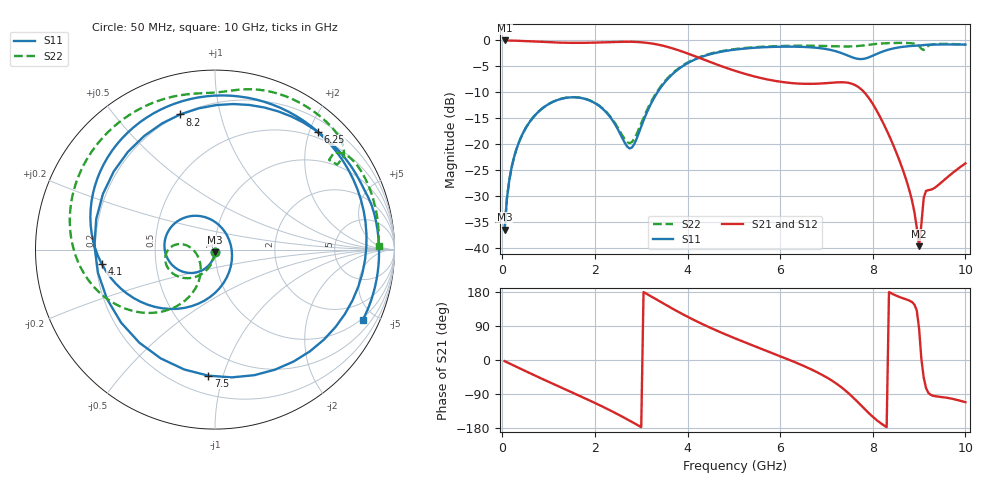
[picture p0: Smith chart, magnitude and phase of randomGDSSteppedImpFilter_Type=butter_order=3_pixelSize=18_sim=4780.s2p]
! freq	dB(S11)	phase(S11)	dB(S12)	phase(S12)
!  dB(S21)	phase(S21)	dB(S22)	phase(S22)
!S-par simulation data
#  GHz  S  DB  R 50
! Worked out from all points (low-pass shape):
!   200 points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, 50 MHz to 10 GHz, reference 50 ohm
!   highest |S21| = -0.01 dB at 50 MHz (marker M1); lowest = -39.6 dB at 9 GHz (marker M2)
!   |S21| within 3 dB of the highest: start of sweep to 4.151 GHz
!   lowest |S11| = -36.4 dB at 50 MHz (marker M3), VSWR 1.03, Z = 49.9 - j1.51 ohm
!   |S11| at or under -10 dB: start of sweep to 3.35 GHz
!   |S22| runs from -36.4 to -0.5 dB; largest |S21 - S12| = 0
!   S11 on the Smith chart (normalised r, x): 50 MHz: 1.00, -0.03; 4.1 GHz: 0.22, -0.06; 6.25 GHz: 0.40, +2.15; 7.5 GHz: 0.32, -0.89; 8.2 GHz: 0.20, +0.76; 10 GHz: 0.91, -4.23
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0.05  -36.39 -92.8  -0.01 -3.0  -0.01 -3.0  -36.38 -92.1
0.2  -24.49 -103.4  -0.03 -11.8  -0.03 -11.8  -24.48 -100.6
0.5  -16.96 -123.3  -0.13 -29.3  -0.13 -29.3  -16.95 -116.2
1.15  -11.60 -165.4  -0.40 -65.9  -0.40 -65.9  -11.59 -147.6
1.75  -11.17 154.4  -0.47 -99.1  -0.47 -99.1  -11.14 -173.3
2.75  -20.78 15.5  -0.26 -160.0  -0.26 -160.0  -19.77 -155.4
3.4  -9.33 -112.5  -0.88 154.6  -0.88 154.6  -9.11 -121.8
4.1  -3.92 -173.0  -2.84 107.9  -2.84 107.9  -3.80 -153.2
4.55  -2.52 155.3  -4.36 81.9  -4.36 81.9  -2.41 -172.9
5.05  -1.74 123.5  -5.92 55.9  -5.92 55.9  -1.64 167.6
5.65  -1.31 87.1  -7.37 26.9  -7.37 26.9  -1.20 146.7
6.25  -1.20 48.7  -8.21 -2.2  -8.21 -2.2  -1.03 127.4
6.7  -1.35 14.7  -8.36 -26.4  -8.36 -26.4  -1.03 113.5
7.15  -1.96 -32.7  -8.11 -56.9  -8.11 -56.9  -1.12 100.2
7.5  -3.06 -93.1  -8.21 -90.3  -8.21 -90.3  -1.17 90.9
7.85  -3.45 178.2  -10.33 -132.5  -10.33 -132.5  -0.91 81.5
8.2  -2.18 104.4  -15.45 -169.3  -15.45 -169.3  -0.59 69.5
8.35  -1.75 82.8  -18.26 179.2  -18.26 179.2  -0.52 63.9
8.8  -1.08 38.5  -29.17 156.2  -29.17 156.2  -0.52 46.0
9  -0.98 24.6  -39.59 82.9  -39.59 82.9  -1.05 35.8
9.15  -0.85 15.6  -28.95 -74.0  -28.95 -74.0  -1.37 39.1
10  -0.80 -25.5  -23.66 -111.3  -23.66 -111.3  -0.80 1.3
